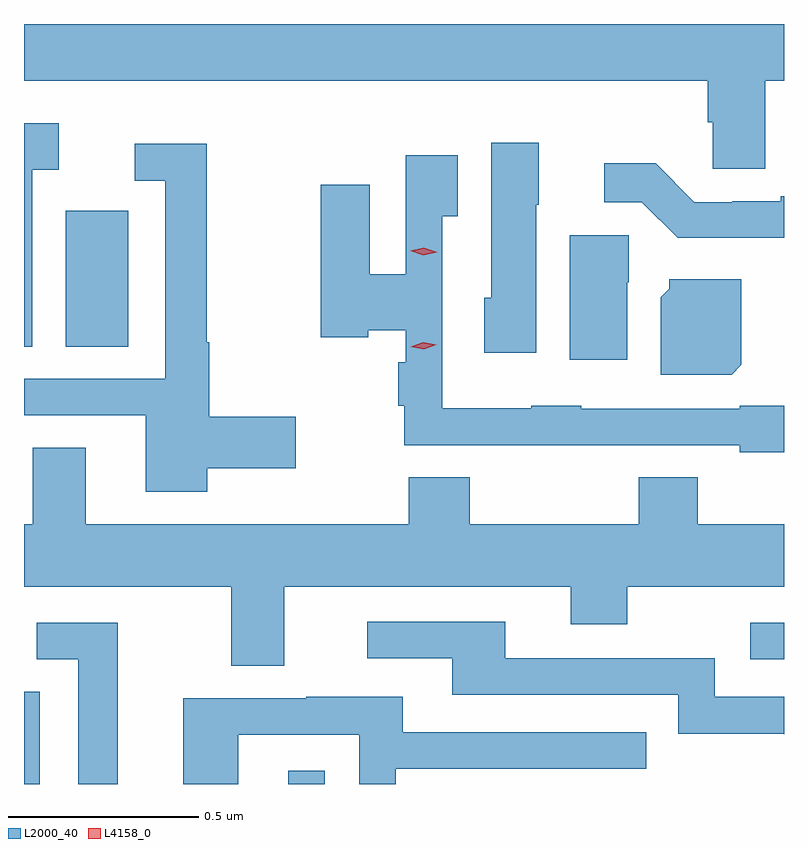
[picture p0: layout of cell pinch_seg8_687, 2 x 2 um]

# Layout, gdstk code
import gdstk
lib = gdstk.Library(unit=1e-6, precision=1e-09)
def R(c, l, rs):  # rectangles x0, y0, x1, y1
    for r in rs: c.add(gdstk.rectangle(r[:2], r[2:], *l))
def P(c, l, *ps):  # polygons
    for p in ps: c.add(gdstk.Polygon(p, *l))
L2000_40 = (2000, 40)
L4158_0 = (4158, 0)

pinch_seg8_687 = lib.new_cell('pinch_seg8_687')
R(pinch_seg8_687, L2000_40, [(246.27,1111.985,246.312,1112.228), (246.965,1111.985,247.062,1112.02), (248.181,1112.313,248.27,1112.409), (246.38,1113.136,246.544,1113.493)])
P(pinch_seg8_687, L2000_40, [(248.221,1113.836),(248.27,1113.836),(248.27,1113.985),(246.27,1113.985),(246.27,1113.836),(248.069,1113.836),(248.069,1113.726),(248.082,1113.726),(248.082,1113.604),(248.221,1113.604)],
  [(246.292,1113.602),(246.361,1113.602),(246.361,1113.724),(246.27,1113.724),(246.27,1113.136),(246.292,1113.136)],
  [(247.618,1113.51),(247.624,1113.51),(247.624,1113.673),(247.499,1113.673),(247.499,1113.264),(247.481,1113.264),(247.481,1113.12),(247.618,1113.12)],
  [(246.752,1112.816),(246.985,1112.816),(246.985,1112.951),(246.758,1112.951),(246.758,1113.148),(246.751,1113.148),(246.751,1113.67),(246.561,1113.67),(246.561,1113.573),(246.642,1113.573),(246.642,1113.051),(246.27,1113.051),(246.27,1112.955),(246.59,1112.955),(246.59,1112.754),(246.752,1112.754)],
  [(248.27,1112.98),(248.154,1112.98),(248.154,1112.973),(247.737,1112.973),(247.737,1112.98),(247.605,1112.98),(247.605,1112.974),(247.371,1112.974),(247.371,1113.479),(247.411,1113.479),(247.411,1113.64),(247.275,1113.64),(247.275,1113.326),(247.18,1113.326),(247.18,1113.562),(247.051,1113.562),(247.051,1113.161),(247.176,1113.161),(247.176,1113.179),(247.275,1113.179),(247.275,1113.095),(247.255,1113.095),(247.255,1112.98),(247.27,1112.98),(247.27,1112.877),(247.505,1112.877),(247.505,1112.876),(247.737,1112.876),(247.737,1112.877),(248.154,1112.877),(248.154,1112.858),(248.27,1112.858)],
  [(248.27,1113.532),(248.261,1113.532),(248.261,1113.519),(248.134,1113.519),(248.134,1113.516),(248.034,1113.516),(247.932,1113.619),(247.797,1113.619),(247.797,1113.516),(247.896,1113.516),(247.99,1113.422),(248.27,1113.422)],
  [(247.858,1113.306),(247.862,1113.306),(247.862,1113.429),(247.706,1113.429),(247.706,1113.102),(247.858,1113.102)],
  [(248.158,1113.088),(248.158,1113.313),(247.968,1113.313),(247.968,1113.288),(247.946,1113.266),(247.946,1113.062),(248.132,1113.062)],
  [(246.955,1112.504),(247.709,1112.504),(247.709,1112.405),(247.857,1112.405),(247.857,1112.504),(248.27,1112.504),(248.27,1112.668),(248.043,1112.668),(248.043,1112.792),(247.888,1112.792),(247.888,1112.668),(247.443,1112.668),(247.443,1112.792),(247.283,1112.792),(247.283,1112.668),(246.433,1112.668),(246.433,1112.87),(246.293,1112.87),(246.293,1112.668),(246.27,1112.668),(246.27,1112.504),(246.815,1112.504),(246.815,1112.296),(246.955,1112.296)],
  [(248.27,1112.214),(248.088,1112.214),(248.088,1112.316),(247.537,1112.316),(247.537,1112.412),(247.173,1112.412),(247.173,1112.316),(247.397,1112.316),(247.397,1112.22),(247.992,1112.22),(247.992,1112.117),(248.269,1112.117),(248.27,1112.116)],
  [(246.517,1112.409),(246.303,1112.409),(246.303,1112.313),(246.413,1112.313),(246.413,1111.985),(246.517,1111.985)],
  [(246.834,1112.115),(247.152,1112.115),(247.152,1111.985),(247.248,1111.985),(247.248,1112.025),(247.907,1112.025),(247.907,1112.121),(247.267,1112.121),(247.267,1112.215),(247.013,1112.215),(247.013,1112.211),(246.689,1112.211),(246.689,1111.985),(246.834,1111.985)])
P(pinch_seg8_687, L4158_0, [(247.321,1113.376),(247.286,1113.388),(247.286,1113.388),(247.286,1113.388),(247.322,1113.396),(247.357,1113.384),(247.357,1113.384),(247.357,1113.384)],
  [(247.322,1113.129),(247.288,1113.136),(247.288,1113.136),(247.288,1113.136),(247.321,1113.148),(247.355,1113.141),(247.355,1113.141),(247.355,1113.141)])

lib.write_gds('pinch_seg8_687.gds')
